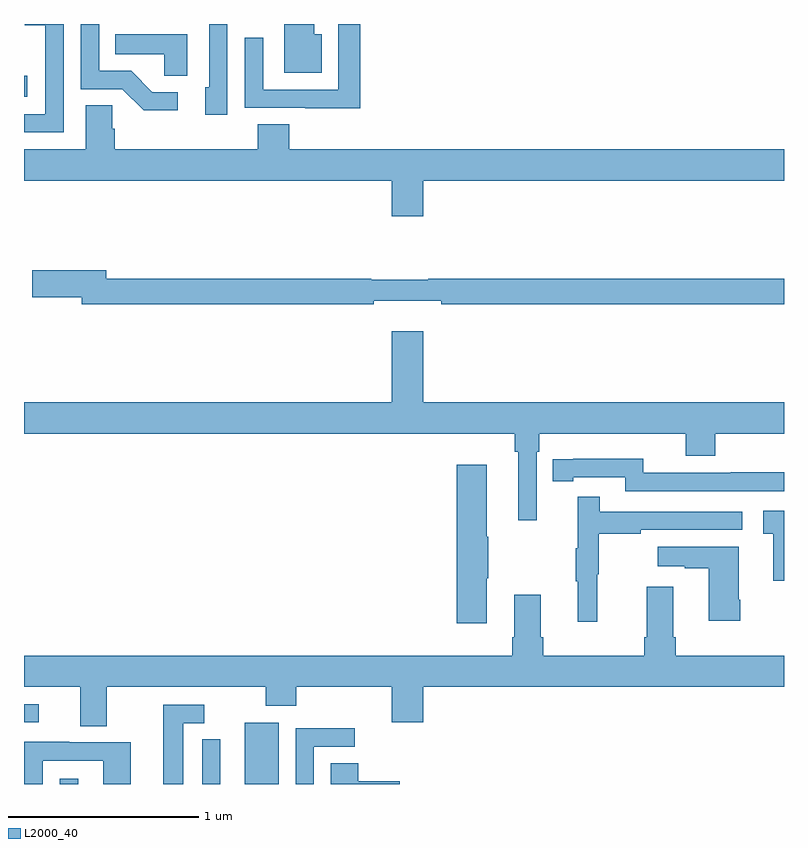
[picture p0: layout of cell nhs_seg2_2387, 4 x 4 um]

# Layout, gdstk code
import gdstk
lib = gdstk.Library(unit=1e-6, precision=1e-09)
def R(c, l, rs):  # rectangles x0, y0, x1, y1
    for r in rs: c.add(gdstk.rectangle(r[:2], r[2:], *l))
def P(c, l, *ps):  # polygons
    for p in ps: c.add(gdstk.Polygon(p, *l))
L2000_40 = (2000, 40)

nhs_seg2_2387 = lib.new_cell('nhs_seg2_2387')
R(nhs_seg2_2387, L2000_40, [(235.188,637.8,235.285,637.828), (236.162,637.8,236.341,638.122), (235,638.124,235.078,638.22), (235,641.417,235.018,641.527)])
P(nhs_seg2_2387, L2000_40, [(235.81,641.442),(235.675,641.442),(235.564,641.553),(235.395,641.553),(235.395,641.8),(235.299,641.8),(235.299,641.457),(235.518,641.457),(235.631,641.345),(235.81,641.345)],
  [(236.07,641.8),(235.974,641.8),(235.974,641.466),(235.955,641.466),(235.955,641.322),(236.07,641.322)],
  [(235.209,641.8),(235.003,641.8),(235.003,641.794),(235.113,641.794),(235.113,641.325),(235,641.325),(235,641.229),(235.209,641.229)],
  [(236.566,641.746),(236.527,641.746),(236.527,641.8),(236.369,641.8),(236.369,641.543),(236.566,641.543)],
  [(236.771,641.8),(236.655,641.8),(236.655,641.454),(236.259,641.454),(236.259,641.728),(236.163,641.728),(236.163,641.358),(236.479,641.358),(236.479,641.357),(236.771,641.357)],
  [(235.858,641.746),(235.48,641.746),(235.48,641.642),(235.737,641.642),(235.737,641.527),(235.858,641.527)],
  [(237.1,640.976),(239,640.976),(239,641.14),(236.396,641.14),(236.396,641.273),(236.231,641.273),(236.231,641.14),(235.478,641.14),(235.478,641.249),(235.464,641.249),(235.464,641.372),(235.325,641.372),(235.325,641.14),(235,641.14),(235,640.976),(236.936,640.976),(236.936,640.788),(237.1,640.788)],
  [(236.84,640.343),(237.196,640.343),(237.196,640.324),(239,640.324),(239,640.46),(237.128,640.46),(237.128,640.453),(236.828,640.453),(236.828,640.46),(235.432,640.46),(235.432,640.503),(235.044,640.503),(235.044,640.361),(235.304,640.361),(235.304,640.324),(236.84,640.324)],
  [(237.699,639.548),(237.713,639.548),(237.713,639.644),(238.484,639.644),(238.484,639.527),(238.637,639.527),(238.637,639.644),(239,639.644),(239,639.808),(237.1,639.808),(237.1,640.183),(236.936,640.183),(236.936,639.808),(235,639.808),(235,639.644),(237.583,639.644),(237.583,639.548),(237.602,639.548),(237.602,639.189),(237.699,639.189)],
  [(239,639.44),(238.72,639.44),(238.72,639.438),(238.26,639.438),(238.26,639.511),(237.892,639.511),(237.892,639.51),(237.784,639.51),(237.784,639.394),(237.892,639.394),(237.892,639.414),(238.164,639.414),(238.164,639.342),(239,639.342)],
  [(237.436,638.884),(237.444,638.884),(237.444,639.101),(237.436,639.101),(237.436,639.481),(237.278,639.481),(237.278,638.646),(237.436,638.646)],
  [(238.016,638.904),(238.024,638.904),(238.024,639.118),(238.247,639.118),(238.247,639.138),(238.78,639.138),(238.78,639.234),(238.031,639.234),(238.031,639.313),(237.914,639.313),(237.914,639.041),(237.903,639.041),(237.903,638.867),(237.914,638.867),(237.914,638.655),(238.016,638.655)],
  [(239,639.238),(238.89,639.238),(238.89,639.117),(238.943,639.117),(238.943,638.871),(239,638.871)],
  [(238.77,638.77),(238.762,638.77),(238.762,639.049),(238.335,639.049),(238.335,638.945),(238.478,638.945),(238.478,638.935),(238.604,638.935),(238.604,638.658),(238.77,638.658)],
  [(235.435,638.312),(236.272,638.312),(236.272,638.213),(236.432,638.213),(236.432,638.312),(236.936,638.312),(236.936,638.124),(237.1,638.124),(237.1,638.312),(239,638.312),(239,638.476),(238.43,638.476),(238.43,638.572),(238.417,638.572),(238.417,638.839),(238.277,638.839),(238.277,638.572),(238.265,638.572),(238.265,638.476),(237.734,638.476),(237.734,638.572),(237.721,638.572),(237.721,638.797),(237.581,638.797),(237.581,638.572),(237.569,638.572),(237.569,638.476),(235,638.476),(235,638.312),(235.295,638.312),(235.295,638.104),(235.435,638.104)],
  [(235.837,638.121),(235.948,638.121),(235.948,638.217),(235.733,638.217),(235.733,637.8),(235.837,637.8)],
  [(236.526,637.995),(236.74,637.995),(236.74,638.094),(236.43,638.094),(236.43,637.8),(236.526,637.8)],
  [(236.033,637.882),(236.034,637.882),(236.034,638.036),(235.938,638.036),(235.938,637.8),(236.033,637.8)],
  [(235.098,637.923),(235.416,637.923),(235.416,637.8),(235.561,637.8),(235.561,638.019),(235.237,638.019),(235.237,638.023),(235,638.023),(235,637.833),(235.002,637.833),(235.002,637.8),(235.098,637.8)],
  [(236.977,637.815),(236.759,637.815),(236.759,637.91),(236.615,637.91),(236.615,637.8),(236.977,637.8)])

lib.write_gds('nhs_seg2_2387.gds')
